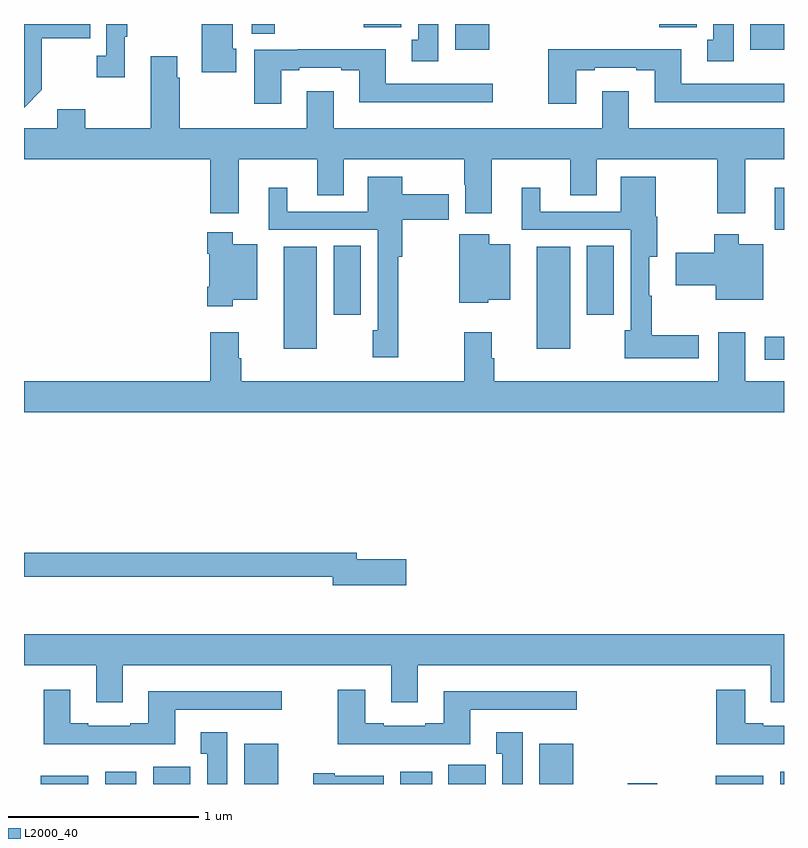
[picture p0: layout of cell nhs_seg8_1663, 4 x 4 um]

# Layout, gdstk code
import gdstk
lib = gdstk.Library(unit=1e-6, precision=1e-09)
def R(c, l, rs):  # rectangles x0, y0, x1, y1
    for r in rs: c.add(gdstk.rectangle(r[:2], r[2:], *l))
def P(c, l, *ps):  # polygons
    for p in ps: c.add(gdstk.Polygon(p, *l))
L2000_40 = (2000, 40)

nhs_seg8_1663 = lib.new_cell('nhs_seg8_1663')
R(nhs_seg8_1663, L2000_40, [(217.088,1091.9,217.339,1091.944), (217.427,1091.9,217.591,1091.965), (217.679,1091.9,217.876,1091.992), (218.159,1091.9,218.338,1092.112), (218.981,1091.9,219.148,1091.965), (219.233,1091.9,219.429,1092.001), (219.713,1091.9,219.892,1092.112), (220.178,1091.9,220.332,1091.905), (220.64,1091.9,220.891,1091.944), (220.979,1091.9,221,1091.965), (220.899,1094.132,221,1094.254), (218.366,1094.192,218.542,1094.728), (219.698,1094.192,219.874,1094.728), (218.63,1094.37,218.773,1094.732), (219.962,1094.37,220.105,1094.732), (220.952,1094.817,221,1095.037), (219.269,1095.764,219.448,1095.9), (220.823,1095.764,221,1095.9), (218.198,1095.85,218.32,1095.9), (218.789,1095.884,218.986,1095.9), (220.343,1095.884,220.54,1095.9)])
P(nhs_seg8_1663, L2000_40, [(220.735,1095.9),(220.628,1095.9),(220.628,1095.818),(220.595,1095.818),(220.595,1095.705),(220.735,1095.705)],
  [(219.181,1095.9),(219.074,1095.9),(219.074,1095.818),(219.041,1095.818),(219.041,1095.705),(219.181,1095.705)],
  [(217.093,1095.553),(217.093,1095.826),(217.349,1095.826),(217.349,1095.9),(217,1095.9),(217,1095.46)],
  [(218.116,1095.771),(218.098,1095.771),(218.098,1095.9),(217.936,1095.9),(217.936,1095.646),(218.116,1095.646)],
  [(217.531,1095.833),(217.543,1095.833),(217.543,1095.9),(217.434,1095.9),(217.434,1095.734),(217.383,1095.734),(217.383,1095.621),(217.531,1095.621)],
  [(219.907,1095.657),(220.003,1095.657),(220.003,1095.669),(220.223,1095.669),(220.223,1095.657),(220.319,1095.657),(220.319,1095.488),(221,1095.488),(221,1095.585),(220.459,1095.585),(220.459,1095.766),(219.76,1095.766),(219.76,1095.48),(219.907,1095.48)],
  [(218.353,1095.657),(218.449,1095.657),(218.449,1095.669),(218.669,1095.669),(218.669,1095.657),(218.765,1095.657),(218.765,1095.488),(219.466,1095.488),(219.466,1095.585),(218.905,1095.585),(218.905,1095.766),(218.441,1095.766),(218.441,1095.765),(218.213,1095.765),(218.213,1095.48),(218.353,1095.48)],
  [(218.131,1095.188),(218.543,1095.188),(218.543,1094.998),(218.683,1094.998),(218.683,1095.188),(219.316,1095.188),(219.316,1095.054),(219.323,1095.054),(219.323,1094.904),(219.463,1094.904),(219.463,1095.188),(219.875,1095.188),(219.875,1094.998),(220.015,1094.998),(220.015,1095.188),(220.648,1095.188),(220.648,1094.904),(220.795,1094.904),(220.795,1095.188),(221,1095.188),(221,1095.352),(220.183,1095.352),(220.183,1095.547),(220.043,1095.547),(220.043,1095.352),(218.629,1095.352),(218.629,1095.547),(218.489,1095.547),(218.489,1095.352),(217.82,1095.352),(217.82,1095.617),(217.807,1095.617),(217.807,1095.73),(217.667,1095.73),(217.667,1095.352),(217.323,1095.352),(217.323,1095.451),(217.175,1095.451),(217.175,1095.352),(217,1095.352),(217,1095.188),(217.979,1095.188),(217.979,1094.904),(218.131,1094.904)],
  [(218.971,1094.675),(218.992,1094.675),(218.992,1094.87),(219.235,1094.87),(219.235,1095.004),(218.992,1095.004),(218.992,1095.097),(218.81,1095.097),(218.81,1094.913),(218.386,1094.913),(218.386,1095.037),(218.288,1095.037),(218.288,1094.817),(218.862,1094.817),(218.862,1094.289),(218.836,1094.289),(218.836,1094.145),(218.971,1094.145)],
  [(220.552,1094.263),(220.303,1094.263),(220.303,1094.469),(220.291,1094.469),(220.291,1094.675),(220.332,1094.675),(220.332,1094.886),(220.324,1094.886),(220.324,1095.097),(220.142,1095.097),(220.142,1094.913),(219.718,1094.913),(219.718,1095.037),(219.62,1095.037),(219.62,1094.817),(220.194,1094.817),(220.194,1094.289),(220.163,1094.289),(220.163,1094.141),(220.552,1094.141)],
  [(218.098,1094.45),(218.227,1094.45),(218.227,1094.74),(218.098,1094.74),(218.098,1094.803),(217.964,1094.803),(217.964,1094.69),(217.976,1094.69),(217.976,1094.518),(217.964,1094.518),(217.964,1094.414),(218.098,1094.414)],
  [(219.444,1094.45),(219.559,1094.45),(219.559,1094.74),(219.448,1094.74),(219.448,1094.794),(219.29,1094.794),(219.29,1094.432),(219.444,1094.432)],
  [(220.891,1094.74),(220.762,1094.74),(220.762,1094.794),(220.633,1094.794),(220.633,1094.696),(220.431,1094.696),(220.431,1094.525),(220.64,1094.525),(220.64,1094.45),(220.891,1094.45)],
  [(221,1094.02),(220.795,1094.02),(220.795,1094.278),(220.655,1094.278),(220.655,1094.02),(219.476,1094.02),(219.476,1094.141),(219.463,1094.141),(219.463,1094.278),(219.316,1094.278),(219.316,1094.02),(218.144,1094.02),(218.144,1094.141),(218.131,1094.141),(218.131,1094.278),(217.979,1094.278),(217.979,1094.02),(217,1094.02),(217,1093.856),(221,1093.856)],
  [(219.013,1093.082),(218.752,1093.082),(218.752,1093.118),(217,1093.118),(217,1092.99),(218.624,1092.99),(218.624,1092.947),(219.013,1092.947)],
  [(217.519,1092.524),(218.933,1092.524),(218.933,1092.33),(219.073,1092.33),(219.073,1092.524),(220.931,1092.524),(220.931,1092.33),(221,1092.33),(221,1092.688),(217,1092.688),(217,1092.524),(217.379,1092.524),(217.379,1092.33),(217.519,1092.33)],
  [(221,1092.207),(220.891,1092.207),(220.891,1092.22),(220.795,1092.22),(220.795,1092.397),(220.643,1092.397),(220.643,1092.11),(221,1092.11)],
  [(217.795,1092.291),(218.356,1092.291),(218.356,1092.388),(217.655,1092.388),(217.655,1092.22),(217.559,1092.22),(217.559,1092.207),(217.339,1092.207),(217.339,1092.22),(217.243,1092.22),(217.243,1092.397),(217.103,1092.397),(217.103,1092.11),(217.795,1092.11)],
  [(219.349,1092.291),(219.91,1092.291),(219.91,1092.388),(219.209,1092.388),(219.209,1092.22),(219.113,1092.22),(219.113,1092.207),(218.893,1092.207),(218.893,1092.22),(218.797,1092.22),(218.797,1092.397),(218.65,1092.397),(218.65,1092.11),(219.349,1092.11)],
  [(218.071,1092.172),(217.931,1092.172),(217.931,1092.059),(217.964,1092.059),(217.964,1091.9),(218.071,1091.9)],
  [(219.625,1092.172),(219.485,1092.172),(219.485,1092.059),(219.518,1092.059),(219.518,1091.9),(219.625,1091.9)],
  [(218.893,1091.944),(218.635,1091.944),(218.635,1091.957),(218.523,1091.957),(218.523,1091.9),(218.893,1091.9)])

lib.write_gds('nhs_seg8_1663.gds')
